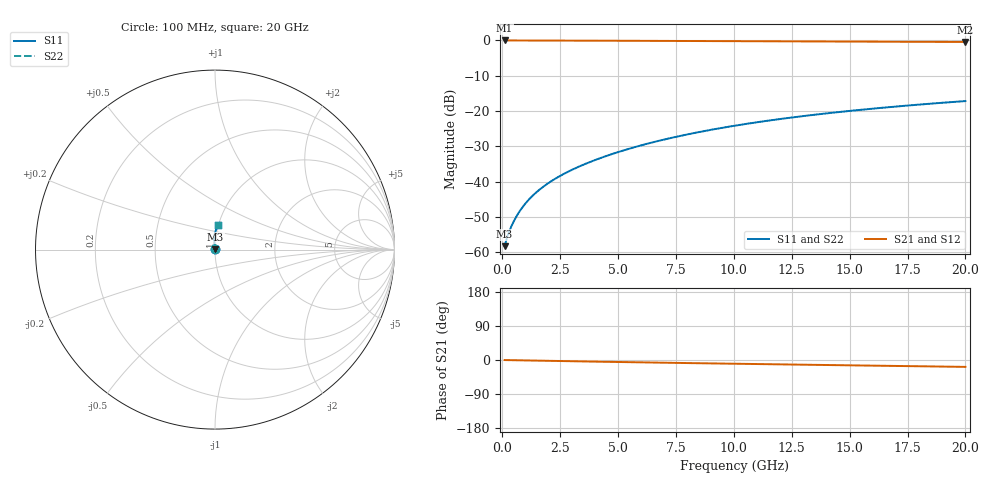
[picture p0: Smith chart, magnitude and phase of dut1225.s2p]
! Touchstone file exported from HFSS 2024.1.0
!  File:  C:/UserFiles/LocalFiles/RDL_TSV_Batchsim/temp_RDL_top_1225_1780240440.aedt
!  Generated:  11:16:03 PM May 31, 2026
!  Design:  RDL_top
!  Project:  temp_RDL_top_1225_1780240440
!  Setup:  Setup1
!  Solution:  Sweep
! Variables:
!  dtsv = 10.80580581um
!  hbump = 3um
!  htsv = 68.76um
!  ldown = 100um
!  lrdl = 285.75um
!  p = 40
!  p1 = 42.42um
!  rhole = 1um
!  t = 450um
!  tdown = 3.915915916um
!  trdl = 4.42um
!  wdown = 15.38538539um
!  wrdl = 27.36um
# GHz S MA R 50.000000
! Terminal data exported
! Port[1] = Box2_T1
! Port[2] = Box2_T2
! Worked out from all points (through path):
!   200 points, 100 MHz to 20 GHz, reference 50 ohm
!   highest |S21| = -0.01 dB at 100 MHz (marker M1); lowest = -0.4 dB at 20 GHz (marker M2)
!   group delay of S21, straight-line fit = 2.48 ps
!   lowest |S11| = -58.3 dB at 100 MHz (marker M3), VSWR 1.00, Z = 50.1 + j0.0602 ohm
!   |S11| at or under -10 dB: start of sweep to end of sweep
!   |S22| runs from -58.3 to -17.2 dB; largest |S21 - S12| = 5.2e-15
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0.1  0.001212 29.7  0.9989 -0.1  0.9989 -0.1  0.001212 29.7
! Gamma 0 0 0 0
! Port Impedance 50 0 50 0
0.2  0.001591 43.9  0.9988 -0.2  0.9988 -0.2  0.001591 43.9
0.3  0.001969 52.3  0.9987 -0.3  0.9987 -0.3  0.001969 52.3
0.5  0.002746 63.3  0.9985 -0.6  0.9985 -0.6  0.002746 63.3
0.6  0.003154 67.1  0.9985 -0.7  0.9985 -0.7  0.003154 67.1
0.8  0.004003 72.7  0.9983 -0.9  0.9983 -0.9  0.004003 72.7
1  0.004883 76.6  0.9981 -1.1  0.9981 -1.1  0.004883 76.6
1.2  0.005784 79.5  0.9979 -1.3  0.9979 -1.3  0.005784 79.5
1.7  0.008108 84.4  0.9973 -1.9  0.9973 -1.9  0.008108 84.4
2.2  0.01053 87.6  0.9964 -2.4  0.9964 -2.4  0.01053 87.6
2.8  0.01356 90.3  0.9952 -3.1  0.9952 -3.1  0.01356 90.3
3.5  0.0173 92.6  0.9935 -3.8  0.9935 -3.8  0.0173 92.6
4.2  0.02128 94.2  0.9916 -4.5  0.9916 -4.5  0.02128 94.2
5  0.02612 95.4  0.9893 -5.3  0.9893 -5.3  0.02612 95.4
5.9  0.03191 96.1  0.9866 -6.2  0.9866 -6.2  0.03191 96.1
6.8  0.03803 96.3  0.9838 -7.0  0.9838 -7.0  0.03802 96.3
8.4  0.04952 95.8  0.979 -8.5  0.979 -8.5  0.04951 95.8
10.1  0.06229 94.4  0.9741 -9.9  0.9741 -9.9  0.06228 94.4
11.7  0.0746 92.7  0.9699 -11.3  0.9699 -11.3  0.07459 92.7
13.4  0.08778 90.8  0.9657 -12.7  0.9657 -12.7  0.08777 90.8
16.7  0.1132 86.8  0.9582 -15.5  0.9582 -15.5  0.1132 86.8
20  0.1382 83.0  0.9513 -18.2  0.9513 -18.2  0.1382 82.9
